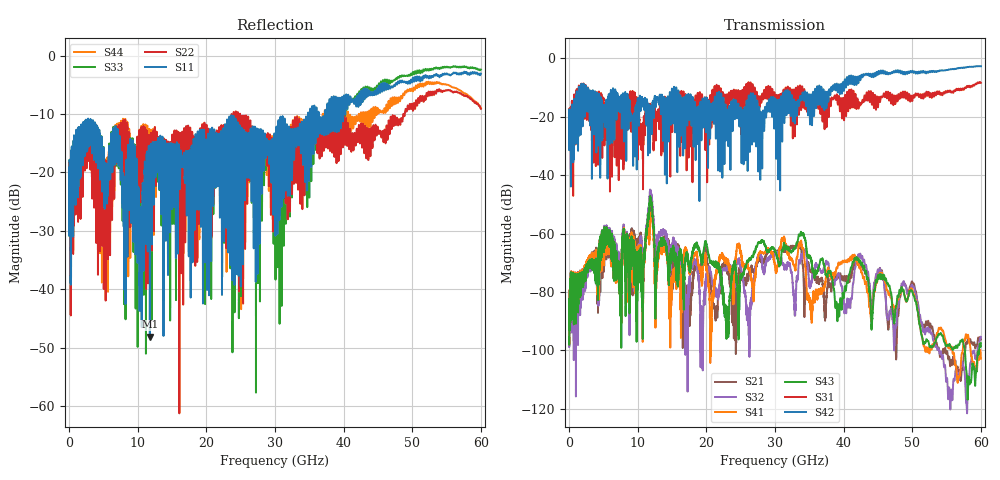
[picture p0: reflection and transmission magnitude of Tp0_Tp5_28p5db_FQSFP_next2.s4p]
!4 port subset of full cascaded channels using these ports:61 37 62 38
# Hz S RI R 50
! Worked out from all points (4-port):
!   6000 points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, 10 MHz to 60 GHz, reference 50 ohm
!   strongest paths, dB at 10 MHz, 15.01 GHz, 30.01 GHz, 45.01 GHz, 60 GHz:
!     S42: -20.0, -10.7, -13.8, -5.2, -2.7
!     S31: -19.9, -20.8, -15.8, -16.8, -8.4
!     S43: -95.6, -65.8, -66.0, -74.2, -97.5
!     S41: -95.3, -75.9, -71.5, -74.2, -102.8
!     S32: -95.7, -64.5, -67.3, -72.3, -95.4
!     S21: -95.4, -79.8, -66.4, -72.4, -96.3
!   lowest |S11| = -48.1 dB at 11.77 GHz (marker M1), VSWR 1.01, Z = 49.6 + j0.167 ohm
!   |S11| at or under -10 dB: start of sweep to 34.81 GHz; 34.86 GHz to 35.09 GHz (227.4 MHz wide, 0.65 % of centre); 36.38 GHz to 37.29 GHz (908.3 MHz wide, 2.47 % of centre)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
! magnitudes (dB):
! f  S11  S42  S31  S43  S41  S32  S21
! 10 MHz  -21.9  -20.0  -19.9  -95.6  -95.3  -95.7  -95.4
! 10.75 GHz  -22.5  -15.4  -34.5  -84.4  -77.2  -69.0  -68.6
! 11.77 GHz  -48.1  -32.4  -17.1  -47.9  -59.3  -45.6  -57.5
! 12.72 GHz  -14.7  -13.8  -18.9  -72.2  -72.2  -63.7  -67.0
! 17.08 GHz  -18.0  -12.6  -19.1  -66.8  -65.2  -85.5  -78.2
! 33.3 GHz  -12.4  -15.1  -10.3  -62.9  -67.6  -75.9  -64.3
! 60 GHz  -3.1  -2.7  -8.4  -97.5  -102.8  -95.4  -96.3
